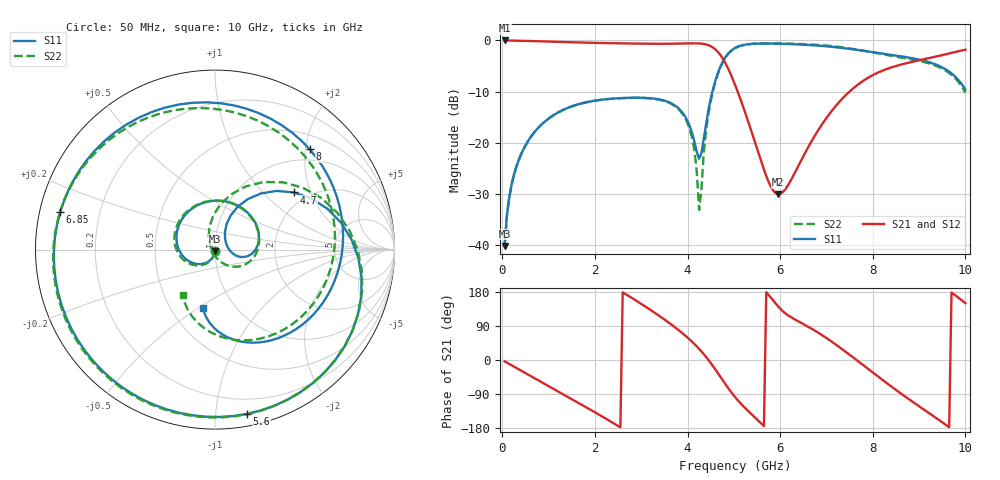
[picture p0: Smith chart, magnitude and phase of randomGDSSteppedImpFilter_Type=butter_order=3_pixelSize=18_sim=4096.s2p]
! freq	dB(S11)	phase(S11)	dB(S12)	phase(S12)
!  dB(S21)	phase(S21)	dB(S22)	phase(S22)
!S-par simulation data
#  GHz  S  DB  R 50
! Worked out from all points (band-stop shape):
!   200 points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, 50 MHz to 10 GHz, reference 50 ohm
!   highest |S21| = 0.00 dB at 50 MHz (marker M1); lowest = -30.0 dB at 5.95 GHz (marker M2)
!   |S21| within 3 dB of the highest: start of sweep to 4.721 GHz; 9.436 GHz to end of sweep
!   lowest |S11| = -40.2 dB at 50 MHz (marker M3), VSWR 1.02, Z = 49.9 - j0.977 ohm
!   |S11| at or under -10 dB: start of sweep to 4.537 GHz
!   |S22| runs from -40.2 to -0.6 dB; largest |S21 - S12| = 0
!   S11 on the Smith chart (normalised r, x): 50 MHz: 1.00, -0.02; 4.7 GHz: 1.69, +1.53; 5.6 GHz: 0.09, -1.21; 6.85 GHz: 0.06, +0.12; 8 GHz: 0.76, +2.09; 10 GHz: 0.72, -0.52
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0.05  -40.18 -93.0  -0.00 -3.5  -0.00 -3.5  -40.21 -92.7
0.2  -28.23 -104.3  -0.03 -13.9  -0.03 -13.9  -28.22 -102.9
0.5  -20.53 -126.7  -0.09 -34.5  -0.09 -34.5  -20.53 -123.0
1.15  -14.36 -173.8  -0.26 -79.1  -0.26 -79.1  -14.36 -165.7
1.75  -12.21 143.4  -0.42 -120.4  -0.42 -120.4  -12.22 154.3
2.6  -11.25 83.3  -0.57 178.6  -0.57 178.6  -11.28 93.0
3.4  -11.54 26.3  -0.65 115.6  -0.65 115.6  -11.61 25.5
4.05  -16.80 -16.2  -0.57 53.6  -0.57 53.6  -17.41 -44.8
4.25  -23.12 18.3  -0.59 29.4  -0.59 29.4  -33.12 -119.8
4.45  -13.63 65.4  -0.93 0.4  -0.93 0.4  -14.42 93.0
4.7  -5.32 36.0  -2.73 -42.9  -2.73 -42.9  -5.48 44.8
5.05  -1.36 -17.7  -9.21 -101.2  -9.21 -101.2  -1.40 -15.6
5.6  -0.61 -79.1  -23.90 -168.1  -23.90 -168.1  -0.59 -78.3
5.95  -0.64 -110.9  -30.05 142.3  -30.05 142.3  -0.59 -108.2
6.7  -0.94 -179.1  -19.35 81.1  -19.35 81.1  -0.81 -166.8
6.85  -1.03 166.3  -17.14 69.8  -17.14 69.8  -0.90 -178.8
7.45  -1.59 103.8  -10.40 18.5  -10.40 18.5  -1.48 129.6
8  -2.29 46.7  -6.78 -33.1  -6.78 -33.1  -2.33 76.7
8.35  -2.76 14.2  -5.43 -65.4  -5.43 -65.4  -2.91 41.4
8.8  -3.39 -22.2  -4.30 -105.1  -4.30 -105.1  -3.61 -4.1
9.3  -4.50 -57.9  -3.29 -147.3  -3.29 -147.3  -4.74 -53.2
10  -9.61 -101.7  -1.82 150.1  -1.82 150.1  -10.20 -125.8
